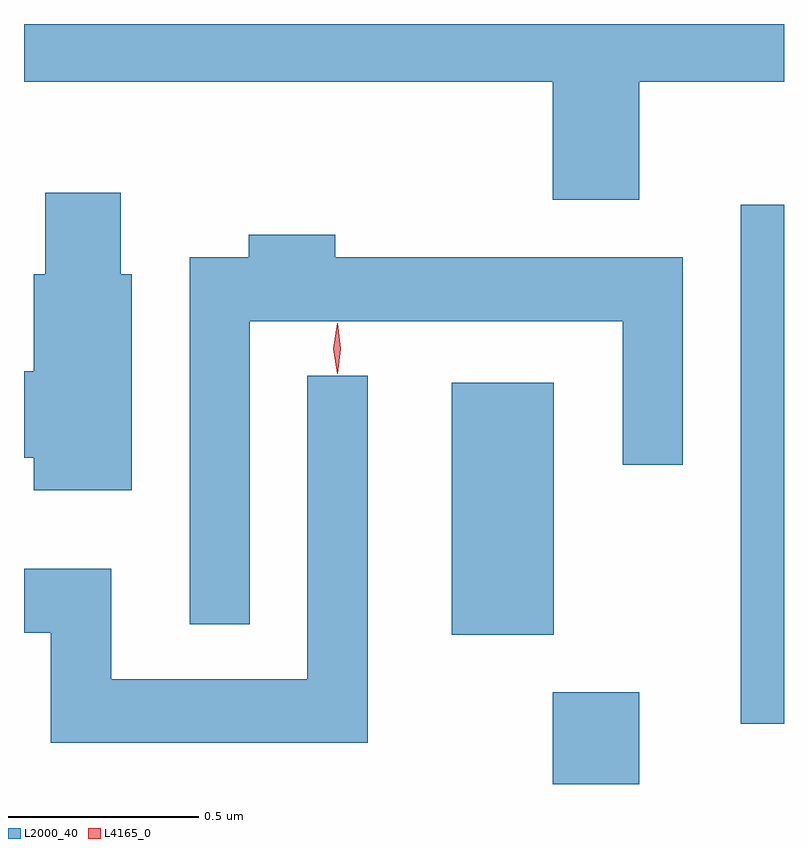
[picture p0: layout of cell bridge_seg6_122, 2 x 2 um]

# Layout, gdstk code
import gdstk
lib = gdstk.Library(unit=1e-6, precision=1e-09)
def R(c, l, rs):  # rectangles x0, y0, x1, y1
    for r in rs: c.add(gdstk.rectangle(r[:2], r[2:], *l))
def P(c, l, *ps):  # polygons
    for p in ps: c.add(gdstk.Polygon(p, *l))
L2000_40 = (2000, 40)
L4165_0 = (4165, 0)

bridge_seg6_122 = lib.new_cell('bridge_seg6_122')
R(bridge_seg6_122, L2000_40, [(1055.051,1608.128,1055.279,1608.369), (1055.546,1608.286,1055.66,1609.653), (1054.786,1608.521,1055.054,1609.184)])
P(bridge_seg6_122, L2000_40, [(1055.279,1609.976),(1055.66,1609.976),(1055.66,1610.128),(1053.66,1610.128),(1053.66,1609.976),(1055.051,1609.976),(1055.051,1609.666),(1055.279,1609.666)],
  [(1053.944,1609.469),(1053.914,1609.469),(1053.914,1609.684),(1053.716,1609.684),(1053.716,1609.469),(1053.686,1609.469),(1053.686,1609.214),(1053.66,1609.214),(1053.66,1608.986),(1053.686,1608.986),(1053.686,1608.901),(1053.944,1608.901)],
  [(1054.254,1609.346),(1055.236,1609.346),(1055.236,1608.968),(1055.394,1608.968),(1055.394,1609.514),(1054.479,1609.514),(1054.479,1609.574),(1054.251,1609.574),(1054.251,1609.514),(1054.096,1609.514),(1054.096,1608.548),(1054.254,1608.548)],
  [(1054.564,1609.203),(1054.406,1609.203),(1054.406,1608.404),(1053.889,1608.404),(1053.889,1608.694),(1053.66,1608.694),(1053.66,1608.526),(1053.731,1608.526),(1053.731,1608.236),(1054.564,1608.236)])
P(bridge_seg6_122, L4165_0, [(1054.484,1609.207),(1054.474,1609.274),(1054.484,1609.34),(1054.484,1609.34),(1054.485,1609.34),(1054.494,1609.274),(1054.485,1609.207),(1054.485,1609.207)])

lib.write_gds('bridge_seg6_122.gds')
